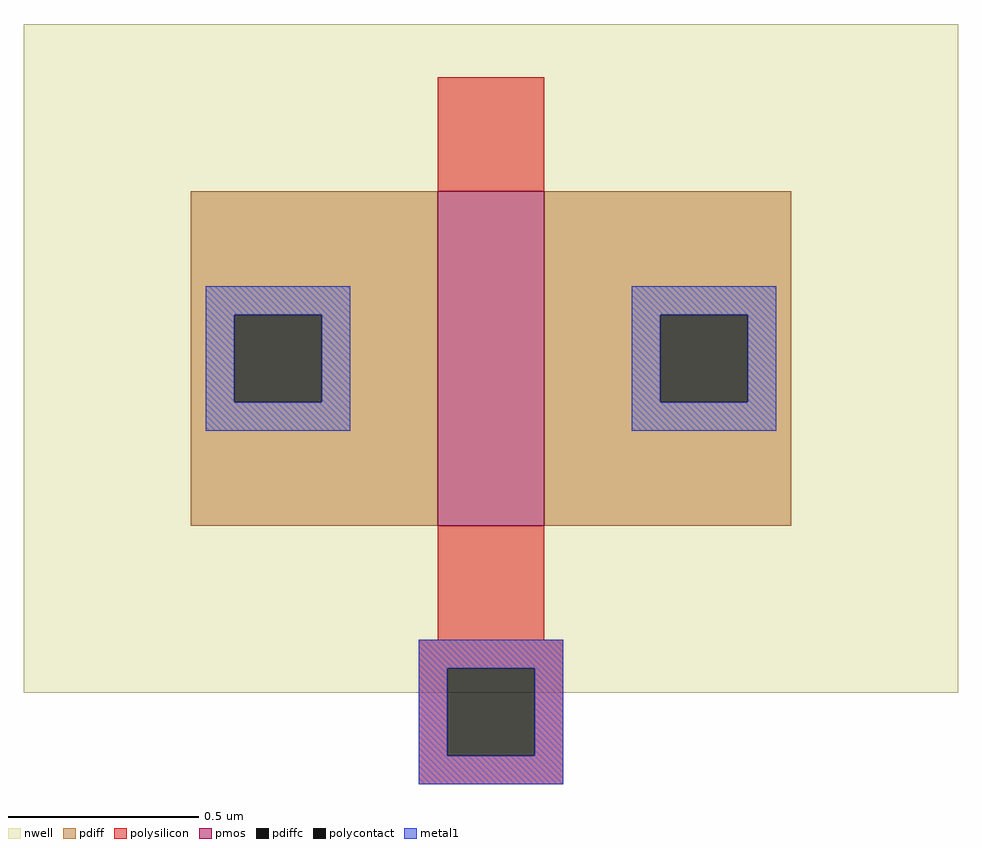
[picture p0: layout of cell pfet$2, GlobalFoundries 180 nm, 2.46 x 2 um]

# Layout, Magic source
magic
tech gf180mcuD
magscale 1 10
<< nwell >>
rect -180 -88 312 264
<< pmos >>
rect 38 0 94 176
<< pdiff >>
rect -92 111 38 176
rect -92 65 -69 111
rect -23 65 38 111
rect -92 0 38 65
rect 94 111 224 176
rect 94 65 155 111
rect 201 65 224 111
rect 94 0 224 65
<< pdiffc >>
rect -69 65 -23 111
rect 155 65 201 111
<< polysilicon >>
rect 38 176 94 236
rect 38 -60 94 0
rect 28 -75 104 -60
rect 28 -121 43 -75
rect 89 -121 104 -75
rect 28 -136 104 -121
<< polycontact >>
rect 43 -121 89 -75
<< metal1 >>
rect -84 111 -8 126
rect -84 65 -69 111
rect -23 65 -8 111
rect -84 50 -8 65
rect 140 111 216 126
rect 140 65 155 111
rect 201 65 216 111
rect 140 50 216 65
rect 28 -75 104 -60
rect 28 -121 43 -75
rect 89 -121 104 -75
rect 28 -136 104 -121
<< end >>
